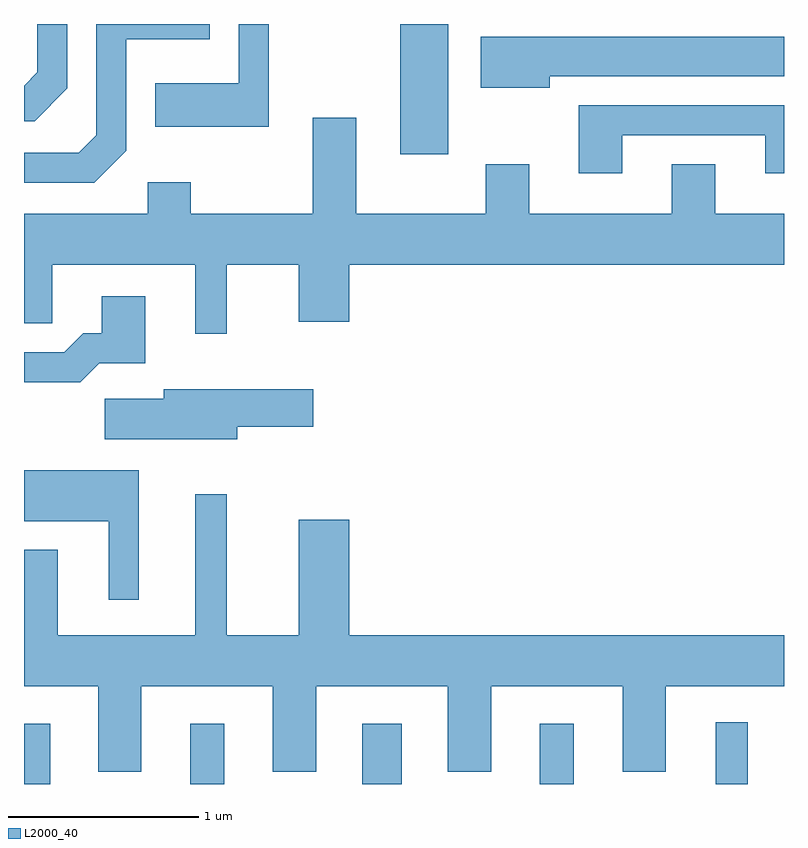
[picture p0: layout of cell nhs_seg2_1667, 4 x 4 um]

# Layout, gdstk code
import gdstk
lib = gdstk.Library(unit=1e-6, precision=1e-09)
def R(c, l, rs):  # rectangles x0, y0, x1, y1
    for r in rs: c.add(gdstk.rectangle(r[:2], r[2:], *l))
def P(c, l, *ps):  # polygons
    for p in ps: c.add(gdstk.Polygon(p, *l))
L2000_40 = (2000, 40)

nhs_seg2_1667 = lib.new_cell('nhs_seg2_1667')
R(nhs_seg2_1667, L2000_40, [(233.611,1047.802,233.749,1048.119), (234.486,1047.802,234.664,1048.119), (235.391,1047.802,235.599,1048.119), (236.326,1047.802,236.504,1048.119), (237.251,1047.802,237.419,1048.128), (235.591,1051.116,235.844,1051.802)])
P(nhs_seg2_1667, L2000_40, [(234.149,1051.134),(234.149,1051.721),(234.589,1051.721),(234.589,1051.802),(233.991,1051.802),(233.991,1051.217),(233.899,1051.124),(233.611,1051.124),(233.611,1050.966),(233.982,1050.966)],
  [(234.899,1051.802),(234.741,1051.802),(234.741,1051.489),(234.301,1051.489),(234.301,1051.261),(234.899,1051.261)],
  [(233.839,1051.464),(233.839,1051.802),(233.681,1051.802),(233.681,1051.547),(233.611,1051.476),(233.611,1051.291),(233.667,1051.291)],
  [(236.379,1051.526),(237.611,1051.526),(237.611,1051.734),(236.016,1051.734),(236.016,1051.466),(236.379,1051.466)],
  [(236.759,1051.216),(237.511,1051.216),(237.511,1051.016),(237.611,1051.016),(237.611,1051.374),(236.531,1051.374),(236.531,1051.016),(236.759,1051.016)],
  [(234.679,1050.536),(235.056,1050.536),(235.056,1050.236),(235.324,1050.236),(235.324,1050.536),(237.611,1050.536),(237.611,1050.804),(237.249,1050.804),(237.249,1051.064),(237.021,1051.064),(237.021,1050.804),(236.269,1050.804),(236.269,1051.064),(236.041,1051.064),(236.041,1050.804),(235.359,1050.804),(235.359,1051.309),(235.131,1051.309),(235.131,1050.804),(234.489,1050.804),(234.489,1050.969),(234.261,1050.969),(234.261,1050.804),(233.611,1050.804),(233.611,1050.226),(233.759,1050.226),(233.759,1050.536),(234.511,1050.536),(234.511,1050.173),(234.679,1050.173)],
  [(234.007,1050.016),(234.249,1050.016),(234.249,1050.369),(234.021,1050.369),(234.021,1050.174),(233.924,1050.174),(233.824,1050.074),(233.611,1050.074),(233.611,1049.916),(233.907,1049.916)],
  [(234.734,1049.681),(235.134,1049.681),(235.134,1049.879),(234.346,1049.879),(234.346,1049.829),(234.036,1049.829),(234.036,1049.616),(234.734,1049.616)],
  [(234.214,1049.454),(233.611,1049.454),(233.611,1049.186),(234.056,1049.186),(234.056,1048.773),(234.214,1048.773)],
  [(234.229,1048.316),(234.921,1048.316),(234.921,1047.866),(235.149,1047.866),(235.149,1048.316),(235.841,1048.316),(235.841,1047.866),(236.069,1047.866),(236.069,1048.316),(236.761,1048.316),(236.761,1047.866),(236.989,1047.866),(236.989,1048.316),(237.611,1048.316),(237.611,1048.584),(235.324,1048.584),(235.324,1049.194),(235.056,1049.194),(235.056,1048.584),(234.679,1048.584),(234.679,1049.328),(234.511,1049.328),(234.511,1048.584),(233.789,1048.584),(233.789,1049.034),(233.611,1049.034),(233.611,1048.316),(234.001,1048.316),(234.001,1047.866),(234.229,1047.866)])

lib.write_gds('nhs_seg2_1667.gds')
